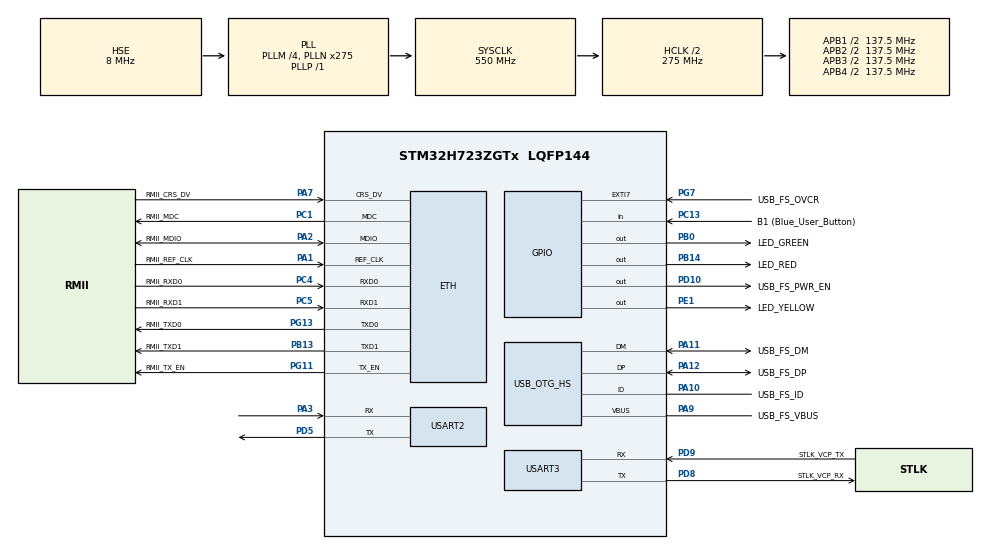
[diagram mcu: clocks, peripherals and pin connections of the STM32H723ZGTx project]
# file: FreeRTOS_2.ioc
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ETH.MediaInterface=HAL_ETH_RMII_MODE
FREERTOS.Tasks01=BlinkTask01,24,128,StartBlinkTask01,Default,NULL,Dynamic,NULL,NULL;BlinkTask02,16,128,StartBlinkTask02,Default,NULL,Dynamic,NULL,NULL
FREERTOS.configUSE_NEWLIB_REENTRANT=1
Mcu.Family=STM32H7
Mcu.Name=STM32H723ZGTx
Mcu.Package=LQFP144
NVIC.PriorityGroup=NVIC_PRIORITYGROUP_4
NVIC.TIM6_DAC_IRQn=true\:15\:0\:false\:false\:true\:false\:false\:true\:true
NVIC.TimeBase=TIM6_DAC_IRQn
NVIC.TimeBaseIP=TIM6
NVIC.USART2_IRQn=true\:5\:0\:false\:false\:true\:true\:true\:true\:true
PA1.GPIO_Label=RMII_REF_CLK
PA1.Mode=RMII
PA1.Signal=ETH_REF_CLK
PA10.GPIO_Label=USB_FS_ID
PA10.Mode=OTG/Dual-Role-Device-FS
PA10.Signal=USB_OTG_HS_ID
PA11.GPIO_Label=USB_FS_DM
PA11.Mode=OTG/Dual-Role-Device-FS
PA11.Signal=USB_OTG_HS_DM
PA12.GPIO_Label=USB_FS_DP
PA12.Mode=OTG/Dual-Role-Device-FS
PA12.Signal=USB_OTG_HS_DP
PA13(JTMS/SWDIO).GPIO_Label=SWDIO
PA13(JTMS/SWDIO).Mode=Trace_Asynchronous_SW
PA13(JTMS/SWDIO).Signal=DEBUG_JTMS-SWDIO
PA14(JTCK/SWCLK).GPIO_Label=SWCLK
PA14(JTCK/SWCLK).Mode=Trace_Asynchronous_SW
PA14(JTCK/SWCLK).Signal=DEBUG_JTCK-SWCLK
PA2.GPIO_Label=RMII_MDIO
PA2.Mode=RMII
PA2.Signal=ETH_MDIO
PA3.Mode=Asynchronous
PA3.Signal=USART2_RX
PA7.GPIO_Label=RMII_CRS_DV
PA7.Mode=RMII
PA7.Signal=ETH_CRS_DV
PA9.GPIO_Label=USB_FS_VBUS
PA9.Mode=Activate_VBUS_FS
PA9.Signal=USB_OTG_HS_VBUS
PB0.GPIO_Label=LED_GREEN
PB0.Signal=GPIO_Output
PB13.GPIO_Label=RMII_TXD1
PB13.Mode=RMII
PB13.Signal=ETH_TXD1
PB14.GPIO_Label=LED_RED
PB14.Signal=GPIO_Output
PB3(JTDO/TRACESWO).GPIO_Label=SWO
PB3(JTDO/TRACESWO).Mode=Trace_Asynchronous_SW
PB3(JTDO/TRACESWO).Signal=DEBUG_JTDO-SWO
PC1.GPIO_Label=RMII_MDC
PC1.Mode=RMII
PC1.Signal=ETH_MDC
PC13.GPIO_Label=B1 (Blue_User_Button)
PC13.Signal=GPIO_Input
PC14-OSC32_IN.Mode=LSE-External-Oscillator
PC14-OSC32_IN.Signal=RCC_OSC32_IN
PC15-OSC32_OUT.Mode=LSE-External-Oscillator
PC15-OSC32_OUT.Signal=RCC_OSC32_OUT
PC4.GPIO_Label=RMII_RXD0
PC4.Mode=RMII
PC4.Signal=ETH_RXD0
PC5.GPIO_Label=RMII_RXD1
PC5.Mode=RMII
PC5.Signal=ETH_RXD1
PD10.GPIO_Label=USB_FS_PWR_EN
PD10.Signal=GPIO_Output
PD5.Mode=Asynchronous
PD5.Signal=USART2_TX
PD8.GPIO_Label=STLK_VCP_RX
PD8.Mode=Asynchronous
PD8.Signal=USART3_TX
PD9.GPIO_Label=STLK_VCP_TX
PD9.Mode=Asynchronous
PD9.Signal=USART3_RX
PE1.GPIO_Label=LED_YELLOW
PE1.Signal=GPIO_Output
PG11.GPIO_Label=RMII_TX_EN
PG11.Mode=RMII
PG11.Signal=ETH_TX_EN
PG13.GPIO_Label=RMII_TXD0
PG13.Mode=RMII
PG13.Signal=ETH_TXD0
PG7.GPIO_Label=USB_FS_OVCR
PG7.Signal=GPXTI7
PH0-OSC_IN.GPIO_Label=MCO
PH0-OSC_IN.Mode=HSE-External-Clock-Source
PH0-OSC_IN.Signal=RCC_OSC_IN
PH1-OSC_OUT.Signal=RCC_OSC_OUT
ProjectManager.HeapSize=0x200
ProjectManager.StackSize=0x400
ProjectManager.TargetToolchain=STM32CubeIDE
RCC.ADCFreq_Value=76000000
RCC.APB1Freq_Value=137500000
RCC.APB2Freq_Value=137500000
RCC.APB3Freq_Value=137500000
RCC.APB4Freq_Value=137500000
RCC.CortexFreq_Value=550000000
RCC.D1PPRE=RCC_APB3_DIV2
RCC.D2PPRE1=RCC_APB1_DIV2
RCC.D2PPRE2=RCC_APB2_DIV2
RCC.D3PPRE=RCC_APB4_DIV2
RCC.DIVM1=4
RCC.DIVM2=1
RCC.DIVN1=275
RCC.DIVN2=19
RCC.DIVP1=1
RCC.DIVQ1=4
RCC.HCLKFreq_Value=275000000
RCC.HPRE=RCC_HCLK_DIV2
RCC.HSE_VALUE=8000000
RCC.PLLFRACN=0
RCC.PLLSourceVirtual=RCC_PLLSOURCE_HSE
RCC.SYSCLKFreq_VALUE=550000000
RCC.SYSCLKSource=RCC_SYSCLKSOURCE_PLLCLK
RCC.USBCLockSelection=RCC_USBCLKSOURCE_HSI48
RCC.USBFreq_Value=48000000
USART2.VirtualMode-Asynchronous=VM_ASYNC
USART3.VirtualMode-Asynchronous=VM_ASYNC
VP_FREERTOS_VS_CMSIS_V2.Mode=CMSIS_V2
VP_SYS_VS_tim6.Mode=TIM6
board=NUCLEO-H723ZG

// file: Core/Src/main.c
/* USER CODE BEGIN Header */
/**
  ******************************************************************************
  * @file           : main.c
  * @brief          : Main program body
  ******************************************************************************
  * @attention
  *
  * <h2><center>&copy; Copyright (c) 2025 STMicroelectronics.
  * All rights reserved.</center></h2>
  *
  * This software component is licensed by ST under BSD 3-Clause license,
  * the "License"; You may not use this file except in compliance with the
  * License. You may obtain a copy of the License at:
  *                        opensource.org/licenses/BSD-3-Clause
  *
  ******************************************************************************
  */
/* USER CODE END Header */
#include "main.h"
#include "string.h"
#include "cmsis_os.h"
#include <stdio.h>

#if defined ( __ICCARM__ ) /*!< IAR Compiler */

#pragma location=0x30040000
ETH_DMADescTypeDef  DMARxDscrTab[ETH_RX_DESC_CNT]; /* Ethernet Rx DMA Descriptors */
#pragma location=0x30040060
ETH_DMADescTypeDef  DMATxDscrTab[ETH_TX_DESC_CNT]; /* Ethernet Tx DMA Descriptors */
#pragma location=0x30040200
uint8_t Rx_Buff[ETH_RX_DESC_CNT][ETH_MAX_PACKET_SIZE]; /* Ethernet Receive Buffers */

#elif defined ( __CC_ARM )  /* MDK ARM Compiler */

__attribute__((at(0x30040000))) ETH_DMADescTypeDef  DMARxDscrTab[ETH_RX_DESC_CNT]; /* Ethernet Rx DMA Descriptors */
__attribute__((at(0x30040060))) ETH_DMADescTypeDef  DMATxDscrTab[ETH_TX_DESC_CNT]; /* Ethernet Tx DMA Descriptors */
__attribute__((at(0x30040200))) uint8_t Rx_Buff[ETH_RX_DESC_CNT][ETH_MAX_PACKET_SIZE]; /* Ethernet Receive Buffer */

#elif defined ( __GNUC__ ) /* GNU Compiler */

ETH_DMADescTypeDef DMARxDscrTab[ETH_RX_DESC_CNT] __attribute__((section(".RxDecripSection"))); /* Ethernet Rx DMA Descriptors */
ETH_DMADescTypeDef DMATxDscrTab[ETH_TX_DESC_CNT] __attribute__((section(".TxDecripSection")));   /* Ethernet Tx DMA Descriptors */
uint8_t Rx_Buff[ETH_RX_DESC_CNT][ETH_MAX_PACKET_SIZE] __attribute__((section(".RxArraySection"))); /* Ethernet Receive Buffers */

#endif

ETH_TxPacketConfig TxConfig;

ETH_HandleTypeDef heth;

UART_HandleTypeDef huart2;
UART_HandleTypeDef huart3;

/* Definitions for BlinkTask01 */
osThreadId_t BlinkTask01Handle;
const osThreadAttr_t BlinkTask01_attributes = {
  .name = "BlinkTask01",
  .stack_size = 128 * 4,
  .priority = (osPriority_t) osPriorityNormal,
};
/* Definitions for BlinkTask02 */
osThreadId_t BlinkTask02Handle;
const osThreadAttr_t BlinkTask02_attributes = {
  .name = "BlinkTask02",
  .stack_size = 128 * 4,
  .priority = (osPriority_t) osPriorityBelowNormal,
};
/* USER CODE BEGIN PV */
uint8_t rx_byte;

uint8_t rx_buffer[128];

volatile uint16_t rx_index = 0;
/* USER CODE END PV */

void SystemClock_Config(void);
static void MX_GPIO_Init(void);
static void MX_ETH_Init(void);
static void MX_USART3_UART_Init(void);
static void MX_USB_OTG_HS_USB_Init(void);
static void MX_USART2_UART_Init(void);
void StartBlinkTask01(void *argument);
void StartBlinkTask02(void *argument);

/* USER CODE BEGIN PFP */
void Task_action(char message);
/* USER CODE END PFP */

/* USER CODE BEGIN 0 */
void ESP_Send(char *cmd)
{
    HAL_UART_Transmit(&huart2,
                      (uint8_t*)cmd,
                      strlen(cmd),
                      HAL_MAX_DELAY);
    HAL_UART_Transmit(&huart3,
                      (uint8_t*)"SENT\r\n",
                      6,
                      HAL_MAX_DELAY);
}

void ESP_Print_Response(void)
{
    HAL_UART_Transmit(&huart3,
                      rx_buffer,
                      rx_index,
                      1000);
	//printf("%s\r\n",rx_buffer);
}

void Clear_Buffer(void)
{
    memset(rx_buffer, 0, sizeof(rx_buffer));
    rx_index = 0;
}

/* USER CODE END 0 */

int main(void)
{

  /* MCU Configuration--------------------------------------------------------*/

  /* Reset of all peripherals, Initializes the Flash interface and the Systick. */
  HAL_Init();

  /* Configure the system clock */
  SystemClock_Config();

  /* Initialize all configured peripherals */
  MX_GPIO_Init();
  MX_ETH_Init();
  MX_USART3_UART_Init();
  MX_USB_OTG_HS_USB_Init();
  MX_USART2_UART_Init();

  /* Init scheduler */
  osKernelInitialize();

  /* Create the thread(s) */
  /* creation of BlinkTask01 */
  BlinkTask01Handle = osThreadNew(StartBlinkTask01, NULL, &BlinkTask01_attributes);

  /* creation of BlinkTask02 */
  BlinkTask02Handle = osThreadNew(StartBlinkTask02, NULL, &BlinkTask02_attributes);

  /* Start scheduler */
  osKernelStart();

  /* We should never get here as control is now taken by the scheduler */
  /* Infinite loop */
  while (1)
  {

  }
}

void SystemClock_Config(void)
{
  RCC_OscInitTypeDef RCC_OscInitStruct = {0};
  RCC_ClkInitTypeDef RCC_ClkInitStruct = {0};

  /** Supply configuration update enable
  */
  HAL_PWREx_ConfigSupply(PWR_LDO_SUPPLY);
  /** Configure the main internal regulator output voltage
  */
  __HAL_PWR_VOLTAGESCALING_CONFIG(PWR_REGULATOR_VOLTAGE_SCALE0);

  while(!__HAL_PWR_GET_FLAG(PWR_FLAG_VOSRDY)) {}
  /** Initializes the RCC Oscillators according to the specified parameters
  * in the RCC_OscInitTypeDef structure.
  */
  RCC_OscInitStruct.OscillatorType = RCC_OSCILLATORTYPE_HSI48|RCC_OSCILLATORTYPE_HSE;
  RCC_OscInitStruct.HSEState = RCC_HSE_BYPASS;
  RCC_OscInitStruct.HSI48State = RCC_HSI48_ON;
  RCC_OscInitStruct.PLL.PLLState = RCC_PLL_ON;
  RCC_OscInitStruct.PLL.PLLSource = RCC_PLLSOURCE_HSE;
  RCC_OscInitStruct.PLL.PLLM = 4;
  RCC_OscInitStruct.PLL.PLLN = 275;
  RCC_OscInitStruct.PLL.PLLP = 1;
  RCC_OscInitStruct.PLL.PLLQ = 4;
  RCC_OscInitStruct.PLL.PLLR = 2;
  RCC_OscInitStruct.PLL.PLLRGE = RCC_PLL1VCIRANGE_1;
  RCC_OscInitStruct.PLL.PLLVCOSEL = RCC_PLL1VCOWIDE;
  RCC_OscInitStruct.PLL.PLLFRACN = 0;
  if (HAL_RCC_OscConfig(&RCC_OscInitStruct) != HAL_OK)
  {
    Error_Handler();
  }
  /** Initializes the CPU, AHB and APB buses clocks
  */
  RCC_ClkInitStruct.ClockType = RCC_CLOCKTYPE_HCLK|RCC_CLOCKTYPE_SYSCLK
                              |RCC_CLOCKTYPE_PCLK1|RCC_CLOCKTYPE_PCLK2
                              |RCC_CLOCKTYPE_D3PCLK1|RCC_CLOCKTYPE_D1PCLK1;
  RCC_ClkInitStruct.SYSCLKSource = RCC_SYSCLKSOURCE_PLLCLK;
  RCC_ClkInitStruct.SYSCLKDivider = RCC_SYSCLK_DIV1;
  RCC_ClkInitStruct.AHBCLKDivider = RCC_HCLK_DIV2;
  RCC_ClkInitStruct.APB3CLKDivider = RCC_APB3_DIV2;
  RCC_ClkInitStruct.APB1CLKDivider = RCC_APB1_DIV2;
  RCC_ClkInitStruct.APB2CLKDivider = RCC_APB2_DIV2;
  RCC_ClkInitStruct.APB4CLKDivider = RCC_APB4_DIV2;

  if (HAL_RCC_ClockConfig(&RCC_ClkInitStruct, FLASH_LATENCY_3) != HAL_OK)
  {
    Error_Handler();
  }
}

static void MX_ETH_Init(void)
{

   static uint8_t MACAddr[6];

  heth.Instance = ETH;
  MACAddr[0] = 0x00;
  MACAddr[1] = 0x80;
  MACAddr[2] = 0xE1;
  MACAddr[3] = 0x00;
  MACAddr[4] = 0x00;
  MACAddr[5] = 0x00;
  heth.Init.MACAddr = &MACAddr[0];
  heth.Init.MediaInterface = HAL_ETH_RMII_MODE;
  heth.Init.TxDesc = DMATxDscrTab;
  heth.Init.RxDesc = DMARxDscrTab;
  heth.Init.RxBuffLen = 1524;

  if (HAL_ETH_Init(&heth) != HAL_OK)
  {
    Error_Handler();
  }

  memset(&TxConfig, 0 , sizeof(ETH_TxPacketConfig));
  TxConfig.Attributes = ETH_TX_PACKETS_FEATURES_CSUM | ETH_TX_PACKETS_FEATURES_CRCPAD;
  TxConfig.ChecksumCtrl = ETH_CHECKSUM_IPHDR_PAYLOAD_INSERT_PHDR_CALC;
  TxConfig.CRCPadCtrl = ETH_CRC_PAD_INSERT;

}

static void MX_USART2_UART_Init(void)
{

  huart2.Instance = USART2;
  huart2.Init.BaudRate = 115200;
  huart2.Init.WordLength = UART_WORDLENGTH_8B;
  huart2.Init.StopBits = UART_STOPBITS_1;
  huart2.Init.Parity = UART_PARITY_NONE;
  huart2.Init.Mode = UART_MODE_TX_RX;
  huart2.Init.HwFlowCtl = UART_HWCONTROL_NONE;
  huart2.Init.OverSampling = UART_OVERSAMPLING_16;
  huart2.Init.OneBitSampling = UART_ONE_BIT_SAMPLE_DISABLE;
  huart2.Init.ClockPrescaler = UART_PRESCALER_DIV1;
  huart2.AdvancedInit.AdvFeatureInit = UART_ADVFEATURE_NO_INIT;
  if (HAL_UART_Init(&huart2) != HAL_OK)
  {
    Error_Handler();
  }
  if (HAL_UARTEx_SetTxFifoThreshold(&huart2, UART_TXFIFO_THRESHOLD_1_8) != HAL_OK)
  {
    Error_Handler();
  }
  if (HAL_UARTEx_SetRxFifoThreshold(&huart2, UART_RXFIFO_THRESHOLD_1_8) != HAL_OK)
  {
    Error_Handler();
  }
  if (HAL_UARTEx_DisableFifoMode(&huart2) != HAL_OK)
  {
    Error_Handler();
  }

}

static void MX_USART3_UART_Init(void)
{

  huart3.Instance = USART3;
  huart3.Init.BaudRate = 115200;
  huart3.Init.WordLength = UART_WORDLENGTH_8B;
  huart3.Init.StopBits = UART_STOPBITS_1;
  huart3.Init.Parity = UART_PARITY_NONE;
  huart3.Init.Mode = UART_MODE_TX_RX;
  huart3.Init.HwFlowCtl = UART_HWCONTROL_NONE;
  huart3.Init.OverSampling = UART_OVERSAMPLING_16;
  huart3.Init.OneBitSampling = UART_ONE_BIT_SAMPLE_DISABLE;
  huart3.Init.ClockPrescaler = UART_PRESCALER_DIV1;
  huart3.AdvancedInit.AdvFeatureInit = UART_ADVFEATURE_NO_INIT;
  if (HAL_UART_Init(&huart3) != HAL_OK)
  {
    Error_Handler();
  }
  if (HAL_UARTEx_SetTxFifoThreshold(&huart3, UART_TXFIFO_THRESHOLD_1_8) != HAL_OK)
  {
    Error_Handler();
  }
  if (HAL_UARTEx_SetRxFifoThreshold(&huart3, UART_RXFIFO_THRESHOLD_1_8) != HAL_OK)
  {
    Error_Handler();
  }
  if (HAL_UARTEx_DisableFifoMode(&huart3) != HAL_OK)
  {
    Error_Handler();
  }

}

static void MX_USB_OTG_HS_USB_Init(void)
{

}

static void MX_GPIO_Init(void)
{
  GPIO_InitTypeDef GPIO_InitStruct = {0};

  /* GPIO Ports Clock Enable */
  __HAL_RCC_GPIOC_CLK_ENABLE();
  __HAL_RCC_GPIOH_CLK_ENABLE();
  __HAL_RCC_GPIOA_CLK_ENABLE();
  __HAL_RCC_GPIOB_CLK_ENABLE();
  __HAL_RCC_GPIOD_CLK_ENABLE();
  __HAL_RCC_GPIOG_CLK_ENABLE();
  __HAL_RCC_GPIOE_CLK_ENABLE();

  /*Configure GPIO pin Output Level */
  HAL_GPIO_WritePin(GPIOB, LED_GREEN_Pin|LED_RED_Pin, GPIO_PIN_RESET);

  /*Configure GPIO pin Output Level */
  HAL_GPIO_WritePin(USB_FS_PWR_EN_GPIO_Port, USB_FS_PWR_EN_Pin, GPIO_PIN_RESET);

  /*Configure GPIO pin Output Level */
  HAL_GPIO_WritePin(LED_YELLOW_GPIO_Port, LED_YELLOW_Pin, GPIO_PIN_RESET);

  /*Configure GPIO pin : B1_Pin */
  GPIO_InitStruct.Pin = B1_Pin;
  GPIO_InitStruct.Mode = GPIO_MODE_INPUT;
  GPIO_InitStruct.Pull = GPIO_NOPULL;
  HAL_GPIO_Init(B1_GPIO_Port, &GPIO_InitStruct);

  /*Configure GPIO pins : LED_GREEN_Pin LED_RED_Pin */
  GPIO_InitStruct.Pin = LED_GREEN_Pin|LED_RED_Pin;
  GPIO_InitStruct.Mode = GPIO_MODE_OUTPUT_PP;
  GPIO_InitStruct.Pull = GPIO_NOPULL;
  GPIO_InitStruct.Speed = GPIO_SPEED_FREQ_LOW;
  HAL_GPIO_Init(GPIOB, &GPIO_InitStruct);

  /*Configure GPIO pin : USB_FS_PWR_EN_Pin */
  GPIO_InitStruct.Pin = USB_FS_PWR_EN_Pin;
  GPIO_InitStruct.Mode = GPIO_MODE_OUTPUT_PP;
  GPIO_InitStruct.Pull = GPIO_NOPULL;
  GPIO_InitStruct.Speed = GPIO_SPEED_FREQ_LOW;
  HAL_GPIO_Init(USB_FS_PWR_EN_GPIO_Port, &GPIO_InitStruct);

  /*Configure GPIO pin : USB_FS_OVCR_Pin */
  GPIO_InitStruct.Pin = USB_FS_OVCR_Pin;
  GPIO_InitStruct.Mode = GPIO_MODE_IT_RISING;
  GPIO_InitStruct.Pull = GPIO_NOPULL;
  HAL_GPIO_Init(USB_FS_OVCR_GPIO_Port, &GPIO_InitStruct);

  /*Configure GPIO pin : USB_FS_VBUS_Pin */
  GPIO_InitStruct.Pin = USB_FS_VBUS_Pin;
  GPIO_InitStruct.Mode = GPIO_MODE_INPUT;
  GPIO_InitStruct.Pull = GPIO_NOPULL;
  HAL_GPIO_Init(USB_FS_VBUS_GPIO_Port, &GPIO_InitStruct);

  /*Configure GPIO pin : USB_FS_ID_Pin */
  GPIO_InitStruct.Pin = USB_FS_ID_Pin;
  GPIO_InitStruct.Mode = GPIO_MODE_AF_PP;
  GPIO_InitStruct.Pull = GPIO_NOPULL;
  GPIO_InitStruct.Speed = GPIO_SPEED_FREQ_LOW;
  GPIO_InitStruct.Alternate = GPIO_AF10_OTG1_HS;
  HAL_GPIO_Init(USB_FS_ID_GPIO_Port, &GPIO_InitStruct);

  /*Configure GPIO pin : LED_YELLOW_Pin */
  GPIO_InitStruct.Pin = LED_YELLOW_Pin;
  GPIO_InitStruct.Mode = GPIO_MODE_OUTPUT_PP;
  GPIO_InitStruct.Pull = GPIO_NOPULL;
  GPIO_InitStruct.Speed = GPIO_SPEED_FREQ_LOW;
  HAL_GPIO_Init(LED_YELLOW_GPIO_Port, &GPIO_InitStruct);

}

/* USER CODE BEGIN 4 */
int _write(int file, char *ptr, int len)
{
	int DataIdx;

	for (DataIdx = 0; DataIdx < len; DataIdx++)
	{
		ITM_SendChar(*ptr++);
	}
	return len;
}

void HAL_UART_RxCpltCallback(UART_HandleTypeDef *huart)
{
    if(huart->Instance == USART2)
    {
        if(rx_index < sizeof(rx_buffer)-1)
        {
            rx_buffer[rx_index++] = rx_byte;
            rx_buffer[rx_index] = '\0';
        }

//        HAL_UART_Transmit(&huart3,
//                            (uint8_t*)"RECEIVE\r\n",
//                            6,
//                            HAL_MAX_DELAY);

        HAL_UART_Receive_IT(&huart2,
                            &rx_byte,
                            1);
    }
}
/* USER CODE END 4 */

void StartBlinkTask01(void *argument)
{
  /* USER CODE BEGIN 5 */
  /* Infinite loop */
  for(;;)
  {
	HAL_GPIO_TogglePin(LED_YELLOW_GPIO_Port,LED_YELLOW_Pin);

    osDelay(500);
  }
  /* USER CODE END 5 */
}

void StartBlinkTask02(void *argument)
{
  /* USER CODE BEGIN StartBlinkTask02 */

	  HAL_UART_Receive_IT(&huart2,
	                      &rx_byte,
	                      1);

	  osDelay(3000);
	  Clear_Buffer();
	  ESP_Send("ATE0\r\n");
	  osDelay(1000);
	  ESP_Print_Response();

	  Clear_Buffer();

	  ESP_Send("AT\r\n");
	  osDelay(1000);
	  ESP_Print_Response();
	  Clear_Buffer();
	  ESP_Send("AT+MQTTCONNECT\r\n");
	  HAL_Delay(5000);
	  ESP_Print_Response();

	  Clear_Buffer();
	  ESP_Send("AT+MQTTPUB=Hello_From_STM32\r\n");
	  HAL_Delay(3000);
	  ESP_Print_Response();
  /* Infinite loop */
  for(;;)
  {

	HAL_GPIO_TogglePin(LED_GREEN_GPIO_Port,LED_GREEN_Pin);
    osDelay(600);
  }
  /* USER CODE END StartBlinkTask02 */
}

void HAL_TIM_PeriodElapsedCallback(TIM_HandleTypeDef *htim)
{
  if (htim->Instance == TIM6) {
    HAL_IncTick();
  }
}

void Error_Handler(void)
{
  __disable_irq();
  while (1)
  {
  }
}

/************************ (C) COPYRIGHT STMicroelectronics *****END OF FILE****/
